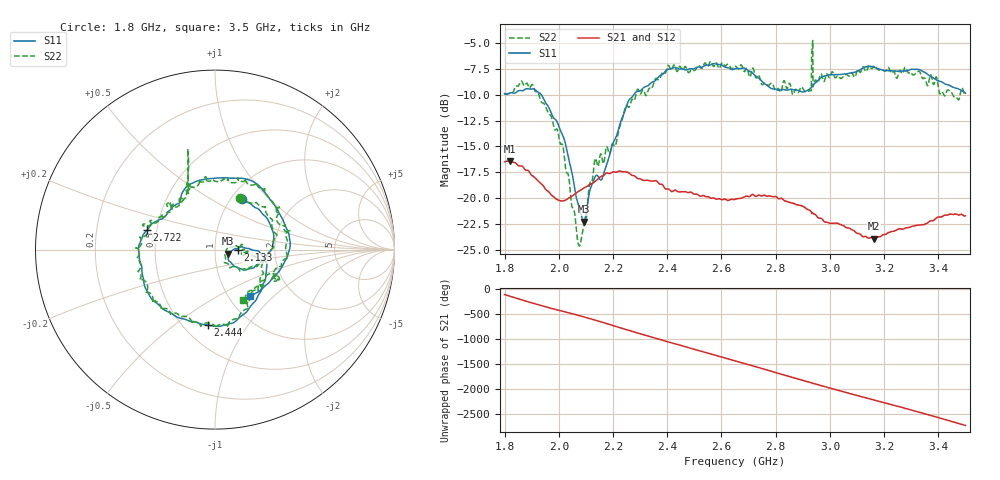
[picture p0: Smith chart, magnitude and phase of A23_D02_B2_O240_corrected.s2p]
! Created with skrf 1.9.0 (http://scikit-rf.org).
# Hz S RI R 50.0
!freq ReS11 ImS11 ReS21 ImS21 ReS12 ImS12 ReS22 ImS22
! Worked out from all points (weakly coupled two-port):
!   1601 points, 1.8 GHz to 3.5 GHz, reference 50 ohm
!   highest |S21| = -16.41 dB at 1.818 GHz (marker M1); lowest = -23.9 dB at 3.163 GHz (marker M2)
!   lowest |S11| = -22.3 dB at 2.092 GHz (marker M3), VSWR 1.17, Z = 57.9 - j2.59 ohm
!   |S11| at or under -10 dB: 1.936 GHz to 2.276 GHz (340.6 MHz wide, 16.2 % of centre)
!   |S22| runs from -24.7 to -4.7 dB; largest |S21 - S12| = 0.0025
!   S11 on the Smith chart (normalised r, x): 1.8 GHz: 1.12, +0.71; 2.133 GHz: 1.29, -0.01; 2.444 GHz: 0.65, -0.67; 2.722 GHz: 0.44, +0.11; 3.5 GHz: 1.26, -0.72
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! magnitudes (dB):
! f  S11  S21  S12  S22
! 1.8 GHz  -9.9  -16.5  -16.5  -9.9
! 1.818 GHz  -9.8  -16.4  -16.4  -9.9
! 1.902 GHz  -9.4  -17.8  -17.8  -9.0
! 1.968 GHz  -11.5  -19.5  -19.6  -12.0
! 2.021 GHz  -14.4  -20.2  -20.2  -16.2
! 2.071 GHz  -20.5  -19.4  -19.4  -24.4
! 2.084 GHz  -21.7  -19.2  -19.1  -23.8
! 2.092 GHz  -22.3  -19.0  -19.1  -22.7
! 2.133 GHz  -18.0  -18.4  -18.4  -16.3
! 2.162 GHz  -17.9  -17.8  -17.8  -16.5
! 2.209 GHz  -14.2  -17.5  -17.4  -14.9
! 2.259 GHz  -10.5  -17.6  -17.6  -11.2
! 2.367 GHz  -8.3  -18.5  -18.5  -8.5
! 2.444 GHz  -7.5  -19.4  -19.4  -7.3
! 2.65 GHz  -7.5  -20.1  -20.1  -7.2
! 2.722 GHz  -8.1  -19.8  -19.7  -8.0
! 2.867 GHz  -9.5  -20.5  -20.5  -9.9
! 2.923 GHz  -9.5  -21.1  -21.1  -9.6
! 2.934 GHz  -9.2  -21.5  -21.4  -5.8
! 3.163 GHz  -7.3  -23.9  -23.9  -7.2
! 3.217 GHz  -7.7  -23.3  -23.3  -7.4
! 3.5 GHz  -9.8  -21.7  -21.7  -9.8
